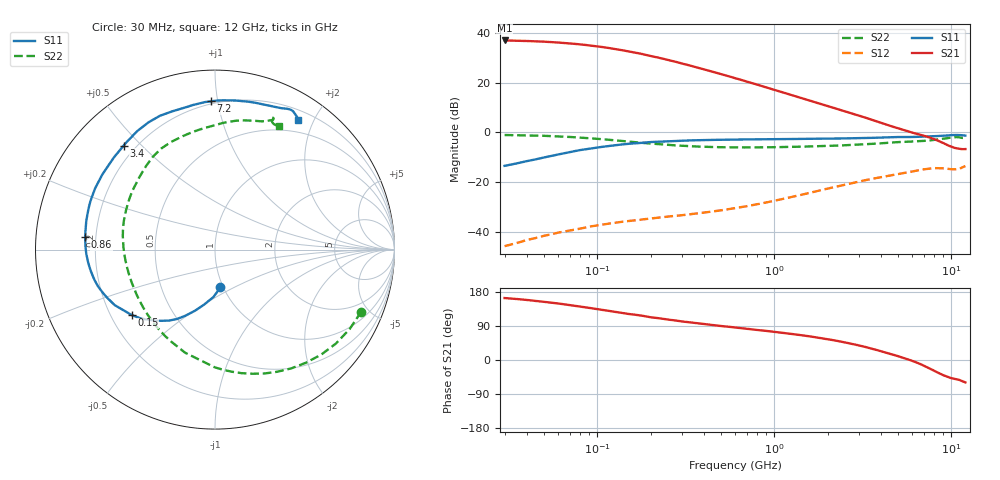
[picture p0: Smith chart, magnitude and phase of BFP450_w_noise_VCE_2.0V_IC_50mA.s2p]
! (c) 2015  Infineon Technologies AG, Munich
! Infineon Technologies  Discrete & RF Semiconductors
! BFP450
! VCE =  2.0 V,  IC =  50 mA
! Common Emitter S-Parameters:  Nov 2015
# GHz  S  MA  R  50
!  f  S11  S21  S12  S22
! GHz  MAG  ANG  MAG  ANG  MAG  ANG  MAG  ANG
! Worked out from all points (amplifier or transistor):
!   239 points, 30 MHz to 12 GHz, reference 50 ohm
!   highest |S21| = 36.9 dB at 30 MHz (marker M1)
!   |S21| within 3 dB of that: start of sweep to 115.4 MHz
!   unconditionally stable (mu >= 1): 1.154 GHz to end of sweep
!   at 300 MHz: K = 0.55, MSG = 30.5 dB, |S12| = -33.3 dB
!   at 1.88 GHz: K = 1.08, MAG = 15.3 dB, |S12| = -23.0 dB
!   at 12 GHz: K = 1.09, MAG = 1.6 dB, |S12| = -13.5 dB
!   lowest NFmin = 1.55 dB at 450 MHz
!   S11 on the Smith chart (normalised r, x): 30 MHz: 0.97, -0.43; 150 MHz: 0.29, -0.32; 860 MHz: 0.16, +0.05; 3.4 GHz: 0.16, +0.44; 7.2 GHz: 0.18, +0.96; 12 GHz: 0.32, +1.79
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0.03  0.2129 -81.8  69.92 163.5  0.0052 79.5  0.8852 -23.0
0.04  0.2644 -91.9  68.18 158.5  0.0069 74.6  0.8712 -30.5
0.05  0.3131 -101.3  66.15 153.5  0.0084 70.3  0.8533 -37.8
0.06  0.3589 -108.2  63.59 149.2  0.0097 67.3  0.8324 -44.6
0.07  0.4036 -114.1  60.95 144.7  0.0107 65.1  0.809 -51.1
0.085  0.4552 -120.8  57.03 139.3  0.0122 60.4  0.7746 -60.0
0.11  0.5197 -130.5  50.81 131.3  0.0144 55.7  0.7225 -73.2
0.13  0.5604 -136.4  46.26 126.1  0.0156 52.9  0.6863 -82.3
0.15  0.59 -141.8  42.26 121.5  0.0166 50.6  0.6555 -90.2
0.2  0.6392 -151.1  34.13 112.8  0.0187 47.3  0.598 -106.2
0.24  0.6593 -156.3  29.56 108.0  0.0201 46.4  0.5671 -115.7
0.3  0.6831 -162.5  24.16 101.8  0.0217 46.1  0.5387 -127.5
0.36  0.6949 -166.9  20.41 97.5  0.0235 46.5  0.5215 -136.1
0.45  0.7062 -172.1  16.38 92.1  0.0259 47.8  0.5077 -146.0
0.6  0.7175 -178.1  12.23 85.6  0.0301 49.9  0.4995 -157.3
0.86  0.7264 174.5  8.409 77.8  0.038 52.3  0.5004 -169.6
1.2  0.7351 167.1  5.855 69.9  0.0488 52.9  0.5096 179.3
1.64  0.7443 159.0  4.186 61.4  0.0629 51.0  0.5231 168.7
3.4  0.7712 131.3  1.886 32.2  0.113 33.6  0.5803 137.2
4.5  0.8 117.6  1.354 16.3  0.1358 22.5  0.6229 123.6
7.2  0.8264 91.5  0.83 -17.8  0.1836 -5.1  0.6784 95.4
12  0.8611 57.3  0.462 -59.2  0.2106 -41.4  0.7734 62.5
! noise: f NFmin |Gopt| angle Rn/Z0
0.45  1.55  0.54  -173  0.06
0.9  1.61  0.56  -168  0.07
1.9  1.71  0.6  -153  0.1
2.4  1.81  0.6  -144  0.14
